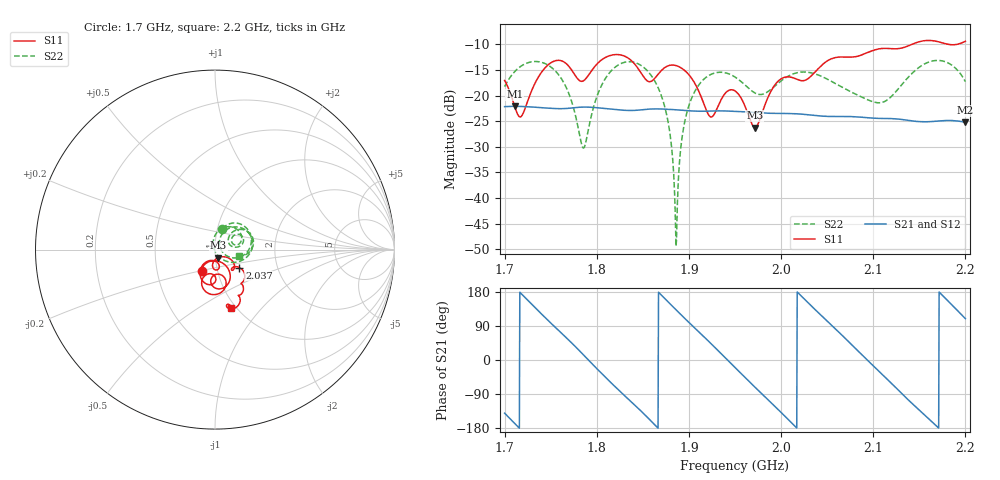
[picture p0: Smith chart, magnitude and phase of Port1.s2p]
# Hz S RI R 50
! CMT, CMT808U, 21440046, 21.4.3/4
! Date: 11/20/2025 11:25:47 PM
! Data: Format (Calibration Info)
! Freq	S11:Re/Im(F2)	S41:Re/Im(F2)	S14:Re/Im(F2)	S44:Re/Im(F2)
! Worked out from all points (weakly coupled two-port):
!   1001 points, 1.7 GHz to 2.2 GHz, reference 50 ohm
!   highest |S21| = -22.10 dB at 1.711 GHz (marker M1); lowest = -25.2 dB at 2.2 GHz (marker M2)
!   lowest |S11| = -26.2 dB at 1.972 GHz (marker M3), VSWR 1.10, Z = 51.6 - j4.68 ohm
!   |S11| at or under -10 dB: start of sweep to 2.142 GHz; 2.181248 GHz to 2.191166 GHz (9.918 MHz wide, 0.454 % of centre)
!   |S22| runs from -49.4 to -13.1 dB; largest |S21 - S12| = 0.0018
!   S11 on the Smith chart (normalised r, x): 1.7 GHz: 0.84, -0.20; 2.037 GHz: 1.28, -0.26; 2.2 GHz: 0.95, -0.70
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1.7e9  -0.0744 -0.119  -0.0599 -0.0498  -0.0614 -0.0488  0.041 0.1151
1.711e9  -0.0369 -0.0686  -0.0766 -0.017  -0.0775 -0.0155  0.0894 0.1462
1.7185e9  0.00836 -0.0627  -0.0778 0.00841  -0.0781 0.0101  0.1297 0.1461
1.7555e9  0.0452 -0.2144  0.00645 0.0743  0.00807 0.0746  0.1706 -0.0223
1.771e9  -0.0226 -0.1852  0.049 0.0571  0.0506 0.0564  0.0869 -0.0436
1.7835e9  0.012 -0.137  0.073 0.0248  0.074 0.0233  0.0336 -0.000578
1.8215e9  -0.00791 -0.251  0.0199 -0.0699  0.0184 -0.0708  0.1534 0.1185
1.846e9  -0.0695 -0.163  -0.0463 -0.0553  -0.0478 -0.0545  0.2016 -0.00657
1.867e9  0.00493 -0.1631  -0.074 0.00145  -0.0743 0.00319  0.093 -0.0712
1.8785e9  -0.0228 -0.1952  -0.0639 0.036  -0.0633 0.0376  0.0246 -0.0417
1.886e9  -0.0533 -0.1887  -0.049 0.0536  -0.0479 0.0549  -0.00265 -0.00211
1.8935e9  -0.0755 -0.1646  -0.0297 0.0653  -0.0283 0.0663  -0.00964 0.0434
1.9045e9  -0.0818 -0.114  0.00169 0.0706  0.0034 0.0709  0.0151 0.1004
1.9235e9  -0.0131 -0.0605  0.0504 0.0494  0.0518 0.0483  0.1019 0.1237
1.95e9  -0.00268 -0.1109  0.0661 -0.0236  0.0658 -0.0254  0.1448 0.0451
1.9715e9  0.0182 -0.0452  0.0219 -0.0647  0.0203 -0.0655  0.1015 0.0307
1.9975e9  0.1085 -0.0883  -0.0452 -0.0494  -0.0466 -0.0484  0.1069 0.0798
2.0335e9  0.1253 -0.096  -0.05 0.0404  -0.049 0.0418  0.1588 0.048
2.0365e9  0.1356 -0.0998  -0.0444 0.046  -0.0433 0.0471  0.1575 0.0422
2.117e9  0.1335 -0.2548  0.0342 -0.0488  0.0331 -0.0498  0.074 0.0566
2.1635e9  0.0931 -0.3308  -0.0531 -0.0171  -0.0535 -0.0156  0.1993 0.0849
2.2e9  0.0904 -0.326  -0.018 0.0518  -0.0167 0.0522  0.1313 -0.0383
